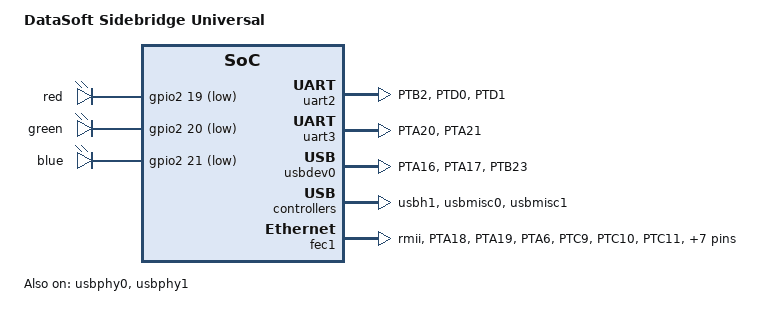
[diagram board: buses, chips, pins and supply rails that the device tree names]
/*
 * Copyright 2016 DataSoft Corporation
 *
 * This program is free software; you can redistribute it and/or modify
 * it under the terms of the GNU General Public License as published by
 * the Free Software Foundation; either version 2 of the License, or
 * (at your option) any later version.
 */

/dts-v1/;
#include "dsvsom-1190.dtsi"

/ {
	model = "DataSoft Sidebridge Universal";

	chosen {
		bootargs = "console=ttyLP2,115200";
	};

	aliases {
		ethernet1 = &fec1;
	};

	rfmute {
		compatible = "gpio-leds";
		pinctrl-names = "default";
		pinctrl-0 = <&pinctrl_rfmute>;
		red {
			gpios = <&gpio2 19 GPIO_ACTIVE_LOW>;
			default-state = "on";
		};
		green {
			gpios = <&gpio2 20 GPIO_ACTIVE_LOW>;
			default-state = "on";
		};
		blue {
			gpios = <&gpio2 21 GPIO_ACTIVE_LOW>;
			default-state = "off";
		};
	};
};

&iomuxc {
	dsvsom-1214 {

		pinctrl_rfmute: rfmutegrp {
			fsl,pins = <
				VF610_PAD_PTA12__GPIO_5			0x03ad 	/* GPIO_PB_RF_MUTEN */
				VF610_PAD_PTC6__GPIO_51			0x0182 	/* GPIO_RF_MUTE_STAT_RED_LEDN */
				VF610_PAD_PTC7__GPIO_52			0x0182 	/* GPIO_RF_MUTE_STAT_GRN_LEDN */
				VF610_PAD_PTC8__GPIO_53			0x0182 	/* GPIO_RF_MUTE_STAT_BLU_LEDN */
			>;
		};

		pinctrl_fec1: fec1grp {
			fsl,pins = <
				VF610_PAD_PTA18__GPIO_8			0x0182 	/* GPIO_ENET1_NRESET */
				VF610_PAD_PTA19__GPIO_9			0x01ad 	/* GPIO_ENET1_NIRQ_OUT */
				VF610_PAD_PTA6__RMII_CLKIN		0x30df
				VF610_PAD_PTC9__ENET_RMII1_MDC		0x30df
				VF610_PAD_PTC10__ENET_RMII1_MDIO	0x30df
				VF610_PAD_PTC11__ENET_RMII1_CRS		0x30df
				VF610_PAD_PTC12__ENET_RMII1_RXD1	0x30df
				VF610_PAD_PTC13__ENET_RMII1_RXD0	0x30df
				VF610_PAD_PTC14__ENET_RMII1_RXER	0x30df
				VF610_PAD_PTC15__ENET_RMII1_TXD1	0x30df
				VF610_PAD_PTC16__ENET_RMII1_TXD0	0x30df
				VF610_PAD_PTC17__ENET_RMII1_TXEN	0x30df
			>;
		};

		pinctrl_usb0: usb0grp {
			fsl,pins = <
				VF610_PAD_PTA16__USB0_VBUS_EN		0x0182
				VF610_PAD_PTA17__USB0_VBUS_OC		0x0181
				VF610_PAD_PTB23__GPIO_93		0x01ad 	/* GPIO_CONN_USB0_ID */
			>;
		};

		pinctrl_uart2: uart2grp {
			fsl,pins = <
				VF610_PAD_PTB2__GPIO_24			0x0182 	/* GPIO_RX232_EN */
				VF610_PAD_PTD0__UART2_TX		0x2182
				VF610_PAD_PTD1__UART2_RX		0x21ad
			>;
		};

		pinctrl_uart3: uart3grp {
			fsl,pins = <
				VF610_PAD_PTA20__UART3_TX		0x2182
				VF610_PAD_PTA21__UART3_RX		0x21ad
			>;
		};

		pinctrl_tsc: tscgrp {
			fsl,pins = <
				VF610_PAD_PTB4__GPIO_26			0x01ad 	/* GPIO_TSC_GPIO0 */
				VF610_PAD_PTB5__GPIO_27			0x01ad 	/* GPIO_TSC_GPIO1 */
				VF610_PAD_PTB6__GPIO_28			0x01ad 	/* GPIO_TSC_GPIO2 */
				VF610_PAD_PTB7__GPIO_29			0x01ad 	/* GPIO_TSC_GPIO3 */
				VF610_PAD_PTB18__GPIO_40		0x01ad 	/* GPIO_TSC_NIRQ_OUT */
			>;
		};

		pinctrl_lcd: lcdgrp {
			fsl,pins = <
				VF610_PAD_PTE0__GPIO_105		0x38df 	/* GPIO_LCD_D0 */
				VF610_PAD_PTE1__GPIO_106		0x38df 	/* GPIO_LCD_D1 */
				VF610_PAD_PTE2__GPIO_107		0x38df 	/* GPIO_LCD_D2 */
				VF610_PAD_PTE3__GPIO_108		0x38df 	/* GPIO_LCD_D3 */
				VF610_PAD_PTE4__GPIO_109		0x38df 	/* GPIO_LCD_D4 */
				VF610_PAD_PTE5__GPIO_110		0x38df 	/* GPIO_LCD_D5 */
				VF610_PAD_PTE6__GPIO_111		0x38df 	/* GPIO_LCD_D6 */
				VF610_PAD_PTE7__GPIO_112		0x38df 	/* GPIO_LCD_D7 */
				VF610_PAD_PTE8__GPIO_113		0x38df 	/* GPIO_LCD_D8 */
				VF610_PAD_PTE9__GPIO_114		0x38df 	/* GPIO_LCD_D9 */
				VF610_PAD_PTE10__GPIO_115		0x38df 	/* GPIO_LCD_D10 */
				VF610_PAD_PTE11__GPIO_116		0x38df 	/* GPIO_LCD_D11 */
				VF610_PAD_PTE12__GPIO_117		0x38df 	/* GPIO_LCD_D12 */
				VF610_PAD_PTE13__GPIO_118		0x38df 	/* GPIO_LCD_D13 */
				VF610_PAD_PTE14__GPIO_119		0x38df 	/* GPIO_LCD_D14 */
				VF610_PAD_PTE15__GPIO_120		0x38df 	/* GPIO_LCD_D15 */
				VF610_PAD_PTE21__GPIO_126		0x0182 	/* GPIO_LCD_RESETN */
				VF610_PAD_PTE22__GPIO_127		0x38de 	/* GPIO_LCD_DAT_CMDN */
				VF610_PAD_PTE23__GPIO_128		0x38de 	/* GPIO_LCD_CSN */
				VF610_PAD_PTE24__GPIO_129		0x38de 	/* GPIO_LCD_WRN */
				VF610_PAD_PTE25__GPIO_130		0x38de 	/* GPIO_LCD_RDN */
				VF610_PAD_PTE26__GPIO_131		0x38de 	/* GPIO_LCD_IM0_8_16N */
			>;
		};
	};
};

&uart2 {
	pinctrl-names = "default";
	pinctrl-0 = <&pinctrl_uart2>;
	status = "okay";
};

&uart3 {
	pinctrl-names = "default";
	pinctrl-0 = <&pinctrl_uart3>;
	status = "okay";
};

&usbdev0 {
	disable-over-current;
	pinctrl-names = "default";
	pinctrl-0 = <&pinctrl_usb0>;
	status = "okay";
};

&usbh1 {
	disable-over-current;
	status = "okay";
};

&usbmisc0 {
	status = "okay";
};

&usbmisc1 {
	status = "okay";
};

&usbphy0 {
	status = "okay";
};

&usbphy1 {
	status = "okay";
};

&fec1 {
	phy-mode = "rmii";
	pinctrl-names = "default";
	pinctrl-0 = <&pinctrl_fec1>;
	phy-reset-duration = <10>;
	phy-reset-gpios = <&gpio1 8 0>;
	status = "okay";
};

